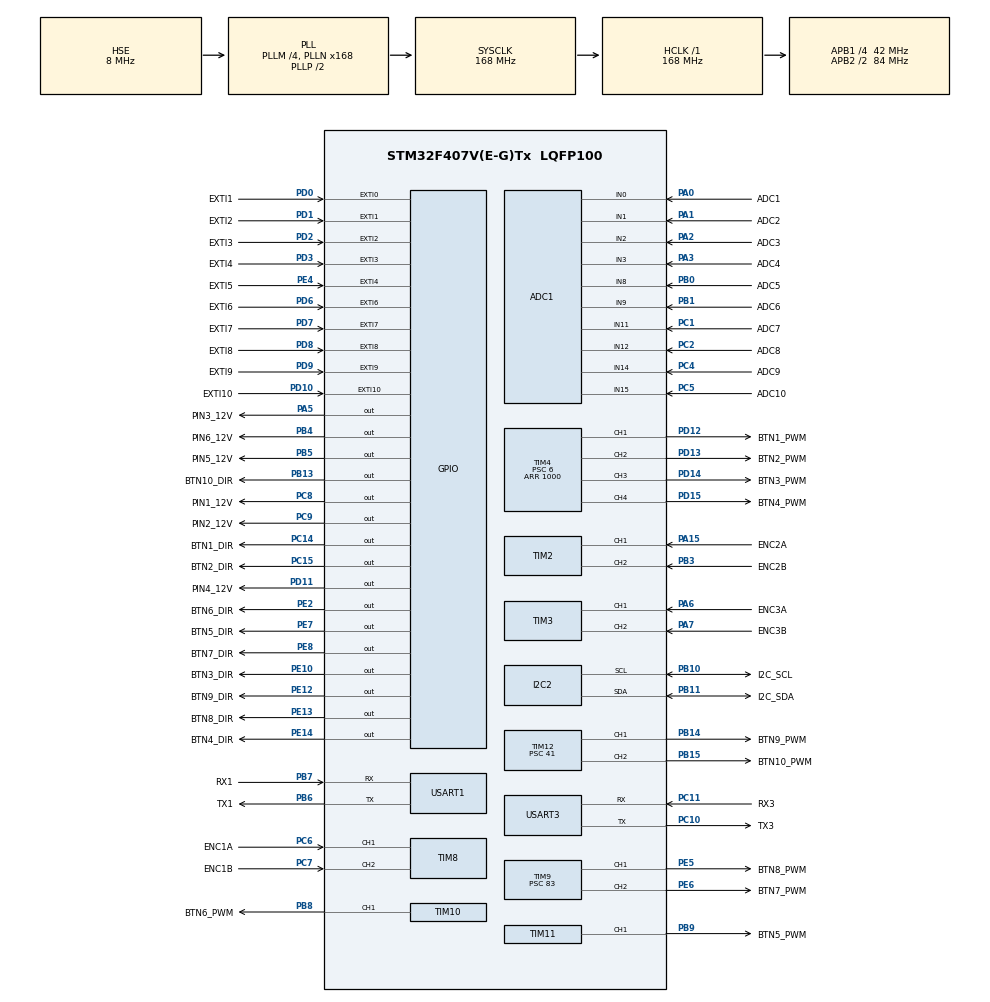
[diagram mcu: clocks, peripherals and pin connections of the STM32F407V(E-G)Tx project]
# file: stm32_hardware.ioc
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ADC1.Channel-0\#ChannelRegularConversion=ADC_CHANNEL_0
ADC1.Channel-1\#ChannelRegularConversion=ADC_CHANNEL_1
ADC1.Channel-2\#ChannelRegularConversion=ADC_CHANNEL_2
ADC1.Channel-3\#ChannelRegularConversion=ADC_CHANNEL_3
ADC1.Channel-4\#ChannelRegularConversion=ADC_CHANNEL_8
ADC1.Channel-5\#ChannelRegularConversion=ADC_CHANNEL_9
ADC1.Channel-6\#ChannelRegularConversion=ADC_CHANNEL_11
ADC1.Channel-7\#ChannelRegularConversion=ADC_CHANNEL_12
ADC1.Channel-8\#ChannelRegularConversion=ADC_CHANNEL_14
ADC1.Channel-9\#ChannelRegularConversion=ADC_CHANNEL_15
ADC1.NbrOfConversion=10
ADC1.NbrOfConversionFlag=1
ADC1.Rank-0\#ChannelRegularConversion=1
ADC1.Rank-1\#ChannelRegularConversion=2
ADC1.Rank-2\#ChannelRegularConversion=3
ADC1.Rank-3\#ChannelRegularConversion=4
ADC1.Rank-4\#ChannelRegularConversion=5
ADC1.Rank-5\#ChannelRegularConversion=6
ADC1.Rank-6\#ChannelRegularConversion=7
ADC1.Rank-7\#ChannelRegularConversion=8
ADC1.Rank-8\#ChannelRegularConversion=9
ADC1.Rank-9\#ChannelRegularConversion=10
ADC1.SamplingTime-0\#ChannelRegularConversion=ADC_SAMPLETIME_144CYCLES
ADC1.SamplingTime-1\#ChannelRegularConversion=ADC_SAMPLETIME_144CYCLES
ADC1.SamplingTime-2\#ChannelRegularConversion=ADC_SAMPLETIME_144CYCLES
ADC1.SamplingTime-3\#ChannelRegularConversion=ADC_SAMPLETIME_144CYCLES
ADC1.SamplingTime-4\#ChannelRegularConversion=ADC_SAMPLETIME_144CYCLES
ADC1.SamplingTime-5\#ChannelRegularConversion=ADC_SAMPLETIME_144CYCLES
ADC1.SamplingTime-6\#ChannelRegularConversion=ADC_SAMPLETIME_144CYCLES
ADC1.SamplingTime-7\#ChannelRegularConversion=ADC_SAMPLETIME_144CYCLES
ADC1.SamplingTime-8\#ChannelRegularConversion=ADC_SAMPLETIME_144CYCLES
ADC1.SamplingTime-9\#ChannelRegularConversion=ADC_SAMPLETIME_144CYCLES
ADC1.master=1
Dma.ADC1.0.Direction=DMA_PERIPH_TO_MEMORY
Dma.ADC1.0.FIFOMode=DMA_FIFOMODE_DISABLE
Dma.ADC1.0.Instance=DMA2_Stream0
Dma.ADC1.0.MemDataAlignment=DMA_MDATAALIGN_HALFWORD
Dma.ADC1.0.MemInc=DMA_MINC_ENABLE
Dma.ADC1.0.Mode=DMA_CIRCULAR
Dma.ADC1.0.PeriphDataAlignment=DMA_PDATAALIGN_HALFWORD
Dma.ADC1.0.PeriphInc=DMA_PINC_DISABLE
Dma.ADC1.0.Priority=DMA_PRIORITY_MEDIUM
Dma.Request0=ADC1
Dma.Request1=USART1_RX
Dma.Request2=USART1_TX
Dma.USART1_RX.1.Direction=DMA_PERIPH_TO_MEMORY
Dma.USART1_RX.1.FIFOMode=DMA_FIFOMODE_DISABLE
Dma.USART1_RX.1.Instance=DMA2_Stream2
Dma.USART1_RX.1.MemDataAlignment=DMA_MDATAALIGN_BYTE
Dma.USART1_RX.1.MemInc=DMA_MINC_ENABLE
Dma.USART1_RX.1.Mode=DMA_NORMAL
Dma.USART1_RX.1.PeriphDataAlignment=DMA_PDATAALIGN_BYTE
Dma.USART1_RX.1.PeriphInc=DMA_PINC_DISABLE
Dma.USART1_RX.1.Priority=DMA_PRIORITY_LOW
Dma.USART1_TX.2.Direction=DMA_MEMORY_TO_PERIPH
Dma.USART1_TX.2.FIFOMode=DMA_FIFOMODE_DISABLE
Dma.USART1_TX.2.Instance=DMA2_Stream7
Dma.USART1_TX.2.MemDataAlignment=DMA_MDATAALIGN_BYTE
Dma.USART1_TX.2.MemInc=DMA_MINC_ENABLE
Dma.USART1_TX.2.Mode=DMA_NORMAL
Dma.USART1_TX.2.PeriphDataAlignment=DMA_PDATAALIGN_BYTE
Dma.USART1_TX.2.PeriphInc=DMA_PINC_DISABLE
Dma.USART1_TX.2.Priority=DMA_PRIORITY_LOW
FREERTOS.Tasks01=startTask,24,128,StartDefaultTask,Default,NULL,Static,startTaskBuffer,startTaskControlBlock;Modbus,40,128,ModBus_Task,Default,NULL,Static,ModbusBuffer,ModbusControlBlock
FREERTOS.configUSE_NEWLIB_REENTRANT=1
I2C2.I2C_Mode=I2C_Fast
Mcu.Family=STM32F4
Mcu.Name=STM32F407V(E-G)Tx
Mcu.Package=LQFP100
NVIC.DMA2_Stream0_IRQn=true\:5\:0\:false\:false\:true\:true\:false\:true\:true
NVIC.DMA2_Stream2_IRQn=true\:5\:0\:false\:false\:true\:true\:false\:true\:true
NVIC.DMA2_Stream7_IRQn=true\:5\:0\:false\:false\:true\:true\:false\:true\:true
NVIC.EXTI0_IRQn=true\:5\:0\:false\:false\:true\:true\:true\:true\:true
NVIC.EXTI15_10_IRQn=true\:5\:0\:false\:false\:true\:true\:true\:true\:true
NVIC.EXTI1_IRQn=true\:5\:0\:false\:false\:true\:true\:true\:true\:true
NVIC.EXTI2_IRQn=true\:5\:0\:false\:false\:true\:true\:true\:true\:true
NVIC.EXTI3_IRQn=true\:5\:0\:false\:false\:true\:true\:true\:true\:true
NVIC.EXTI4_IRQn=true\:5\:0\:false\:false\:true\:true\:true\:true\:true
NVIC.EXTI9_5_IRQn=true\:5\:0\:false\:false\:true\:true\:true\:true\:true
NVIC.PriorityGroup=NVIC_PRIORITYGROUP_4
NVIC.TIM1_UP_TIM10_IRQn=true\:15\:0\:false\:false\:true\:false\:false\:true\:true
NVIC.TIM6_DAC_IRQn=true\:5\:0\:false\:false\:true\:true\:true\:true\:true
NVIC.TIM7_IRQn=true\:5\:0\:false\:false\:true\:true\:true\:true\:true
NVIC.TimeBase=TIM1_UP_TIM10_IRQn
NVIC.TimeBaseIP=TIM1
PA0-WKUP.GPIO_Label=ADC1
PA0-WKUP.Signal=ADCx_IN0
PA1.GPIO_Label=ADC2
PA1.Signal=ADCx_IN1
PA13.Mode=Serial_Wire
PA13.Signal=SYS_JTMS-SWDIO
PA14.Mode=Serial_Wire
PA14.Signal=SYS_JTCK-SWCLK
PA15.GPIO_Label=ENC2A
PA15.GPIO_PuPd=GPIO_PULLUP
PA15.Signal=S_TIM2_CH1_ETR
PA2.GPIO_Label=ADC3
PA2.Signal=ADCx_IN2
PA3.GPIO_Label=ADC4
PA3.Signal=ADCx_IN3
PA5.GPIO_Label=PIN3_12V
PA5.Signal=GPIO_Output
PA6.GPIO_Label=ENC3A
PA6.GPIO_PuPd=GPIO_NOPULL
PA6.Signal=S_TIM3_CH1
PA7.GPIO_Label=ENC3B
PA7.GPIO_PuPd=GPIO_NOPULL
PA7.Signal=S_TIM3_CH2
PB0.GPIO_Label=ADC5
PB0.Signal=ADCx_IN8
PB1.GPIO_Label=ADC6
PB1.Signal=ADCx_IN9
PB10.GPIO_Label=I2C_SCL
PB10.Mode=I2C
PB10.Signal=I2C2_SCL
PB11.GPIO_Label=I2C_SDA
PB11.Mode=I2C
PB11.Signal=I2C2_SDA
PB13.GPIO_Label=BTN10_DIR
PB13.Signal=GPIO_Output
PB14.GPIO_Label=BTN9_PWM
PB14.Signal=S_TIM12_CH1
PB15.GPIO_Label=BTN10_PWM
PB15.Signal=S_TIM12_CH2
PB3.GPIO_Label=ENC2B
PB3.GPIO_PuPd=GPIO_PULLUP
PB3.Signal=S_TIM2_CH2
PB4.GPIO_Label=PIN6_12V
PB4.Signal=GPIO_Output
PB5.GPIO_Label=PIN5_12V
PB5.Signal=GPIO_Output
PB6.GPIO_Label=TX1
PB6.Mode=Asynchronous
PB6.Signal=USART1_TX
PB7.GPIO_Label=RX1
PB7.Mode=Asynchronous
PB7.Signal=USART1_RX
PB8.GPIO_Label=BTN6_PWM
PB8.Signal=S_TIM10_CH1
PB9.GPIO_Label=BTN5_PWM
PB9.Signal=S_TIM11_CH1
PC1.GPIO_Label=ADC7
PC1.Signal=ADCx_IN11
PC10.GPIO_Label=TX3
PC10.Mode=Asynchronous
PC10.Signal=USART3_TX
PC11.GPIO_Label=RX3
PC11.Mode=Asynchronous
PC11.Signal=USART3_RX
PC14-OSC32_IN.GPIO_Label=BTN1_DIR
PC14-OSC32_IN.Signal=GPIO_Output
PC15-OSC32_OUT.GPIO_Label=BTN2_DIR
PC15-OSC32_OUT.Signal=GPIO_Output
PC2.GPIO_Label=ADC8
PC2.Signal=ADCx_IN12
PC4.GPIO_Label=ADC9
PC4.Signal=ADCx_IN14
PC5.GPIO_Label=ADC10
PC5.Signal=ADCx_IN15
PC6.GPIO_Label=ENC1A
PC6.GPIO_PuPd=GPIO_PULLUP
PC6.Signal=S_TIM8_CH1
PC7.GPIO_Label=ENC1B
PC7.GPIO_PuPd=GPIO_PULLUP
PC7.Signal=S_TIM8_CH2
PC8.GPIO_Label=PIN1_12V
PC8.Signal=GPIO_Output
PC9.GPIO_Label=PIN2_12V
PC9.Signal=GPIO_Output
PD0.GPIO_Label=EXTI1
PD0.Signal=GPXTI0
PD1.GPIO_Label=EXTI2
PD1.Signal=GPXTI1
PD10.GPIO_Label=EXTI10
PD10.Signal=GPXTI10
PD11.GPIO_Label=PIN4_12V
PD11.Signal=GPIO_Output
PD12.GPIO_Label=BTN1_PWM
PD12.Signal=S_TIM4_CH1
PD13.GPIO_Label=BTN2_PWM
PD13.Signal=S_TIM4_CH2
PD14.GPIO_Label=BTN3_PWM
PD14.Signal=S_TIM4_CH3
PD15.GPIO_Label=BTN4_PWM
PD15.Signal=S_TIM4_CH4
PD2.GPIO_Label=EXTI3
PD2.Signal=GPXTI2
PD3.GPIO_Label=EXTI4
PD3.Signal=GPXTI3
PD6.GPIO_Label=EXTI6
PD6.Signal=GPXTI6
PD7.GPIO_Label=EXTI7
PD7.Signal=GPXTI7
PD8.GPIO_Label=EXTI8
PD8.Signal=GPXTI8
PD9.GPIO_Label=EXTI9
PD9.Signal=GPXTI9
PE10.GPIO_Label=BTN3_DIR
PE10.Signal=GPIO_Output
PE12.GPIO_Label=BTN9_DIR
PE12.Signal=GPIO_Output
PE13.GPIO_Label=BTN8_DIR
PE13.Signal=GPIO_Output
PE14.GPIO_Label=BTN4_DIR
PE14.Signal=GPIO_Output
PE2.GPIO_Label=BTN6_DIR
PE2.Signal=GPIO_Output
PE4.GPIO_Label=EXTI5
PE4.Signal=GPXTI4
PE5.GPIO_Label=BTN8_PWM
PE5.Signal=S_TIM9_CH1
PE6.GPIO_Label=BTN7_PWM
PE6.Signal=S_TIM9_CH2
PE7.GPIO_Label=BTN5_DIR
PE7.Signal=GPIO_Output
PE8.GPIO_Label=BTN7_DIR
PE8.Signal=GPIO_Output
PH0-OSC_IN.Mode=HSE-External-Oscillator
PH0-OSC_IN.Signal=RCC_OSC_IN
PH1-OSC_OUT.Mode=HSE-External-Oscillator
PH1-OSC_OUT.Signal=RCC_OSC_OUT
ProjectManager.HeapSize=0x200
ProjectManager.StackSize=0x400
ProjectManager.TargetToolchain=STM32CubeIDE
RCC.48MHZClocksFreq_Value=84000000
RCC.AHBFreq_Value=168000000
RCC.APB1CLKDivider=RCC_HCLK_DIV4
RCC.APB1Freq_Value=42000000
RCC.APB1TimFreq_Value=84000000
RCC.APB2CLKDivider=RCC_HCLK_DIV2
RCC.APB2Freq_Value=84000000
RCC.APB2TimFreq_Value=168000000
RCC.CortexFreq_Value=168000000
RCC.HCLKFreq_Value=168000000
RCC.HSE_VALUE=8000000
RCC.HSI_VALUE=16000000
RCC.LSE_VALUE=32768
RCC.PLLM=4
RCC.PLLN=168
RCC.PLLSourceVirtual=RCC_PLLSOURCE_HSE
RCC.SYSCLKFreq_VALUE=168000000
RCC.SYSCLKSource=RCC_SYSCLKSOURCE_PLLCLK
RCC.VCOOutputFreq_Value=336000000
SH.ADCx_IN0.0=ADC1_IN0,IN0
SH.ADCx_IN1.0=ADC1_IN1,IN1
SH.ADCx_IN11.0=ADC1_IN11,IN11
SH.ADCx_IN12.0=ADC1_IN12,IN12
SH.ADCx_IN14.0=ADC1_IN14,IN14
SH.ADCx_IN15.0=ADC1_IN15,IN15
SH.ADCx_IN2.0=ADC1_IN2,IN2
SH.ADCx_IN3.0=ADC1_IN3,IN3
SH.ADCx_IN8.0=ADC1_IN8,IN8
SH.ADCx_IN9.0=ADC1_IN9,IN9
SH.S_TIM10_CH1.0=TIM10_CH1,PWM Generation1 CH1
SH.S_TIM11_CH1.0=TIM11_CH1,PWM Generation1 CH1
SH.S_TIM12_CH1.0=TIM12_CH1,PWM Generation1 CH1
SH.S_TIM12_CH2.0=TIM12_CH2,PWM Generation2 CH2
SH.S_TIM2_CH1_ETR.0=TIM2_CH1,Encoder_Interface
SH.S_TIM2_CH2.0=TIM2_CH2,Encoder_Interface
SH.S_TIM3_CH1.0=TIM3_CH1,Encoder_Interface
SH.S_TIM3_CH2.0=TIM3_CH2,Encoder_Interface
SH.S_TIM4_CH1.0=TIM4_CH1,PWM Generation1 CH1
SH.S_TIM4_CH2.0=TIM4_CH2,PWM Generation2 CH2
SH.S_TIM4_CH3.0=TIM4_CH3,PWM Generation3 CH3
SH.S_TIM4_CH4.0=TIM4_CH4,PWM Generation4 CH4
SH.S_TIM8_CH1.0=TIM8_CH1,Encoder_Interface
SH.S_TIM8_CH2.0=TIM8_CH2,Encoder_Interface
SH.S_TIM9_CH1.0=TIM9_CH1,PWM Generation1 CH1
SH.S_TIM9_CH2.0=TIM9_CH2,PWM Generation2 CH2
TIM10.Channel=TIM_CHANNEL_1
TIM10.Period=1000
TIM10.Prescaler=83
TIM11.Channel=TIM_CHANNEL_1
TIM11.Period=1000
TIM11.Prescaler=83
TIM12.Channel-PWM\ Generation1\ CH1=TIM_CHANNEL_1
TIM12.Channel-PWM\ Generation2\ CH2=TIM_CHANNEL_2
TIM12.Period=1000
TIM12.Prescaler=41
TIM4.Channel-PWM\ Generation1\ CH1=TIM_CHANNEL_1
TIM4.Channel-PWM\ Generation2\ CH2=TIM_CHANNEL_2
TIM4.Channel-PWM\ Generation3\ CH3=TIM_CHANNEL_3
TIM4.Channel-PWM\ Generation4\ CH4=TIM_CHANNEL_4
TIM4.Period=1000
TIM4.Prescaler=6
TIM6.Period=1000
TIM6.Prescaler=839
TIM7.Period=1000
TIM7.Prescaler=839
TIM9.Channel-PWM\ Generation1\ CH1=TIM_CHANNEL_1
TIM9.Channel-PWM\ Generation2\ CH2=TIM_CHANNEL_2
TIM9.Period=1000
TIM9.Prescaler=83
USART1.VirtualMode=VM_ASYNC
USART3.VirtualMode=VM_ASYNC
VP_FREERTOS_VS_CMSIS_V2.Mode=CMSIS_V2
VP_SYS_VS_tim1.Mode=TIM1
VP_TIM10_VS_ClockSourceINT.Mode=Enable_Timer
VP_TIM11_VS_ClockSourceINT.Mode=Enable_Timer
VP_TIM6_VS_ClockSourceINT.Mode=Enable_Timer
VP_TIM7_VS_ClockSourceINT.Mode=Enable_Timer
board=custom

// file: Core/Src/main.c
/* USER CODE BEGIN Header */
/**
  ******************************************************************************
  * @file           : main.c
  * @brief          : Main program body
  ******************************************************************************
  * @attention
  *
  * Copyright (c) 2023 STMicroelectronics.
  * All rights reserved.
  *
  * This software is licensed under terms that can be found in the LICENSE file
  * in the root directory of this software component.
  * If no LICENSE file comes with this software, it is provided AS-IS.
  *
  ******************************************************************************
  */
/* USER CODE END Header */
#include "main.h"
#include "cmsis_os.h"
#include "adc.h"
#include "dma.h"
#include "i2c.h"
#include "tim.h"
#include "usart.h"
#include "gpio.h"

/* USER CODE BEGIN PTD */
regulator PID[4];
/* USER CODE END PTD */

/* USER CODE BEGIN PD */
#define disk_to_real	0.4743
#define freq			0.01
#define arm_count		2870.0
#define moving_count	770.0
/* USER CODE END PD */

void SystemClock_Config(void);
void MX_FREERTOS_Init(void);

int main(void)
{

  /* MCU Configuration--------------------------------------------------------*/

  /* Reset of all peripherals, Initializes the Flash interface and the Systick. */
  HAL_Init();

  /* Configure the system clock */
  SystemClock_Config();

  /* Initialize all configured peripherals */
  MX_GPIO_Init();
  MX_TIM2_Init();
  MX_TIM3_Init();
  MX_TIM4_Init();
  MX_TIM7_Init();
  MX_ADC1_Init();
  MX_I2C2_Init();
  MX_TIM8_Init();
  MX_TIM9_Init();
  MX_TIM10_Init();
  MX_TIM11_Init();
  MX_DMA_Init();
  MX_USART3_UART_Init();
  MX_USART1_UART_Init();
  MX_TIM6_Init();
  MX_TIM12_Init();
  /* USER CODE BEGIN 2 */
  HAL_TIM_PWM_Start(&htim4, TIM_CHANNEL_1);
  HAL_TIM_PWM_Start(&htim4, TIM_CHANNEL_2);
  HAL_TIM_PWM_Start(&htim4, TIM_CHANNEL_3);
  HAL_TIM_Encoder_Start(&htim8, TIM_CHANNEL_ALL);
  HAL_TIM_Encoder_Start(&htim2, TIM_CHANNEL_ALL);
  HAL_TIM_Encoder_Start(&htim3, TIM_CHANNEL_ALL);
  HAL_TIM_Base_Start_IT(&htim6);

  init_pid();

  set_voltage(0, 0.0);
  set_voltage(1, 0.0);
  set_voltage(2, 0.0);
  /* USER CODE END 2 */

  /* Init scheduler */
  osKernelInitialize();  /* Call init function for freertos objects (in freertos.c) */
  MX_FREERTOS_Init();

  /* Start scheduler */
  osKernelStart();

  /* We should never get here as control is now taken by the scheduler */
  /* Infinite loop */
  while (1)
  {

  }
}

void SystemClock_Config(void)
{
  RCC_OscInitTypeDef RCC_OscInitStruct = {0};
  RCC_ClkInitTypeDef RCC_ClkInitStruct = {0};

  /** Configure the main internal regulator output voltage
  */
  __HAL_RCC_PWR_CLK_ENABLE();
  __HAL_PWR_VOLTAGESCALING_CONFIG(PWR_REGULATOR_VOLTAGE_SCALE1);

  /** Initializes the RCC Oscillators according to the specified parameters
  * in the RCC_OscInitTypeDef structure.
  */
  RCC_OscInitStruct.OscillatorType = RCC_OSCILLATORTYPE_HSE;
  RCC_OscInitStruct.HSEState = RCC_HSE_ON;
  RCC_OscInitStruct.PLL.PLLState = RCC_PLL_ON;
  RCC_OscInitStruct.PLL.PLLSource = RCC_PLLSOURCE_HSE;
  RCC_OscInitStruct.PLL.PLLM = 4;
  RCC_OscInitStruct.PLL.PLLN = 168;
  RCC_OscInitStruct.PLL.PLLP = RCC_PLLP_DIV2;
  RCC_OscInitStruct.PLL.PLLQ = 4;
  if (HAL_RCC_OscConfig(&RCC_OscInitStruct) != HAL_OK)
  {
    Error_Handler();
  }

  /** Initializes the CPU, AHB and APB buses clocks
  */
  RCC_ClkInitStruct.ClockType = RCC_CLOCKTYPE_HCLK|RCC_CLOCKTYPE_SYSCLK
                              |RCC_CLOCKTYPE_PCLK1|RCC_CLOCKTYPE_PCLK2;
  RCC_ClkInitStruct.SYSCLKSource = RCC_SYSCLKSOURCE_PLLCLK;
  RCC_ClkInitStruct.AHBCLKDivider = RCC_SYSCLK_DIV1;
  RCC_ClkInitStruct.APB1CLKDivider = RCC_HCLK_DIV4;
  RCC_ClkInitStruct.APB2CLKDivider = RCC_HCLK_DIV2;

  if (HAL_RCC_ClockConfig(&RCC_ClkInitStruct, FLASH_LATENCY_5) != HAL_OK)
  {
    Error_Handler();
  }
}

/* USER CODE BEGIN 4 */
void get_encoder_data(void)
{
	int16_t Enc[3] = {0.0, 0.0};

	Enc[0] = TIM8->CNT;
	Enc[1] = TIM2->CNT;
	Enc[2] = TIM3->CNT;

	// speed
	float tmp_dist = 0.0;
	tmp_dist = Enc[0] * (disk_to_real / moving_count);
	PID[0].in = tmp_dist / freq;

	tmp_dist = Enc[1] * (disk_to_real / moving_count);
	PID[1].in = tmp_dist / freq;

	tmp_dist = Enc[2] * (disk_to_real / 1340.0);
	PID[2].in = tmp_dist / freq;

	// distanse
	tmp_dist = Enc[2] * (disk_to_real / 1340.0) ;
	PID[3].in += tmp_dist * 360.0;

	TIM8->CNT = 0;
	TIM2->CNT = 0;
	TIM3->CNT = 0;
}

void calc_pid(void)
{
	PID[0].error = PID[0].target - PID[0].in;
	PID[0].sum_error += PID[0].error;
	if(PID[0].sum_error > PID[0].max_sum_error) PID[0].sum_error = PID[0].max_sum_error;
	if(PID[0].sum_error < -PID[0].max_sum_error) PID[0].sum_error = -PID[0].max_sum_error;

	PID[0].out = (PID[0].p_k * PID[0].error) + (PID[0].i_k * PID[0].sum_error) + (PID[0].d_k * PID[0].prev_error);
	if(PID[0].out > PID[0].max_out) PID[0].out = PID[0].max_out;
	if(PID[0].out < -PID[0].max_out) PID[0].out = -PID[0].max_out;
	PID[0].prev_error = PID[0].error;

	PID[1].error = PID[1].in - PID[1].target;
	PID[1].sum_error += PID[1].error;
	if(PID[1].sum_error > PID[1].max_sum_error) PID[1].sum_error = PID[1].max_sum_error;
	if(PID[1].sum_error < -PID[1].max_sum_error) PID[1].sum_error = -PID[1].max_sum_error;

	PID[1].out = (PID[1].p_k * PID[1].error) + (PID[1].i_k * PID[1].sum_error) + (PID[1].d_k * PID[1].prev_error);
	if(PID[1].out > PID[1].max_out) PID[1].out = PID[1].max_out;
	if(PID[1].out < -PID[1].max_out) PID[1].out = -PID[1].max_out;
	PID[1].prev_error = PID[1].error;

	PID[2].error = PID[2].in - PID[2].target;
	PID[2].sum_error += PID[2].error;
	if(PID[2].sum_error > PID[2].max_sum_error) PID[2].sum_error = PID[2].max_sum_error;
	if(PID[2].sum_error < -PID[2].max_sum_error) PID[2].sum_error = -PID[2].max_sum_error;

	PID[2].out = (PID[2].p_k * PID[2].error) + (PID[2].i_k * PID[2].sum_error) + (PID[2].d_k * PID[2].prev_error);
	if(PID[2].out > PID[2].max_out) PID[2].out = PID[2].max_out;
	if(PID[2].out < -PID[2].max_out) PID[2].out = -PID[2].max_out;
	PID[2].prev_error = PID[2].error;

	PID[3].error = PID[3].target - PID[3].in;
	PID[3].sum_error += PID[3].error;
	if(PID[3].sum_error > PID[3].max_sum_error) PID[3].sum_error = PID[3].max_sum_error;
	if(PID[3].sum_error < -PID[3].max_sum_error) PID[3].sum_error = -PID[3].max_sum_error;

	PID[3].out = (PID[3].p_k * PID[3].error) + (PID[3].i_k * PID[3].sum_error) + (PID[3].d_k * PID[3].prev_error);
	if(PID[3].out > PID[3].max_out) PID[3].out = PID[3].max_out;
	if(PID[3].out < -PID[3].max_out) PID[3].out = -PID[3].max_out;
	PID[3].prev_error = PID[3].error;
}

void set_voltage(uint8_t motor, float duty)
{
	if(duty > 1.0) duty = 1.0;
	if(duty < -1.0) duty = -1.0;
	switch(motor)
	{
	case 0:
		if(duty >= 0.0)
		{
			TIM4->CCR1 = ((int32_t)(TIM4->ARR * duty));
			HAL_GPIO_WritePin(BTN1_DIR_GPIO_Port, BTN1_DIR_Pin, GPIO_PIN_RESET);
		} else {
			TIM4->CCR1 = ((int32_t)(TIM4->ARR + (TIM4->ARR * duty)));
			HAL_GPIO_WritePin(BTN1_DIR_GPIO_Port, BTN1_DIR_Pin, GPIO_PIN_SET);
		}
		break;
	case 1:
		if(duty >= 0.0)
		{
			TIM4->CCR2 = ((int32_t)(TIM4->ARR * duty));
			HAL_GPIO_WritePin(BTN2_DIR_GPIO_Port, BTN2_DIR_Pin, GPIO_PIN_RESET);
		} else {
			TIM4->CCR2 = ((int32_t)(TIM4->ARR + (TIM4->ARR * duty)));
			HAL_GPIO_WritePin(BTN2_DIR_GPIO_Port, BTN2_DIR_Pin, GPIO_PIN_SET);
		}
		break;
	case 2:
		if(duty >= 0.0)
		{
			TIM4->CCR3 = ((int32_t)(TIM4->ARR * duty));
			HAL_GPIO_WritePin(BTN3_DIR_GPIO_Port, BTN3_DIR_Pin, GPIO_PIN_RESET);
		} else {
			TIM4->CCR3 = ((int32_t)(TIM4->ARR + (TIM4->ARR * duty)));
			HAL_GPIO_WritePin(BTN3_DIR_GPIO_Port, BTN3_DIR_Pin, GPIO_PIN_SET);
		}
		break;
	}
}

void init_pid(void)
{
	// Speed regulators
	PID[0].p_k = 0.050;
	PID[0].i_k = 0.20;
	PID[0].d_k = 0.0;
	PID[0].error = 0.0;
	PID[0].sum_error = 0.0;
	PID[0].max_sum_error = 10.0;
	PID[0].min_out = 0.1;
	PID[0].max_out = 1.0;
	PID[0].out = 0.0;
	PID[0].target = 0.0;

	PID[1].p_k = 0.050;
	PID[1].i_k = 0.200;
	PID[1].d_k = 0.0;
	PID[1].error = 0.0;
	PID[1].sum_error = 0.0;
	PID[1].max_sum_error = 10.0;
	PID[1].min_out = 0.1;
	PID[1].max_out = 1.0;
	PID[1].out = 0.0;
	PID[1].target = 0.0;

	PID[2].p_k = 0.40;
	PID[2].i_k = 0.0780;
	PID[2].d_k = 0.0;
	PID[2].error = 0.0;
	PID[2].sum_error = 0.0;
	PID[2].max_sum_error = 5.0;
	PID[2].min_out = 0.1;
	PID[2].max_out = 1.0;
	PID[2].out = 0.0;
	PID[2].target = 0.0;

	// angle regulator
	PID[3].p_k = 1.0;
	PID[3].i_k = 0.0;
	PID[3].d_k = 0.0;
	PID[3].error = 0.0;
	PID[3].sum_error = 0.0;
	PID[3].max_sum_error = 10.0;
	PID[3].min_out = 0.1;
	PID[3].max_out = 0.25;
	PID[3].out = 0.0;
	PID[3].target = 0.0;
}
/* USER CODE END 4 */

void HAL_TIM_PeriodElapsedCallback(TIM_HandleTypeDef *htim)
{
  if (htim->Instance == TIM1) {
    HAL_IncTick();
  }
}

void Error_Handler(void)
{
  __disable_irq();
  while (1)
  {
  }
}

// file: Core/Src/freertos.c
/* USER CODE BEGIN Header */
/**
  ******************************************************************************
  * File Name          : freertos.c
  * Description        : Code for freertos applications
  ******************************************************************************
  * @attention
  *
  * Copyright (c) 2023 STMicroelectronics.
  * All rights reserved.
  *
  * This software is licensed under terms that can be found in the LICENSE file
  * in the root directory of this software component.
  * If no LICENSE file comes with this software, it is provided AS-IS.
  *
  ******************************************************************************
  */
/* USER CODE END Header */

#include "FreeRTOS.h"
#include "task.h"
#include "main.h"
#include "cmsis_os.h"

/* USER CODE BEGIN Includes */
#include <stdbool.h>
#include <stdio.h>
#include <string.h>
#include "usart.h"
/* USER CODE END Includes */

typedef StaticTask_t osStaticThreadDef_t;

/* USER CODE BEGIN Variables */
static struct {
	uint8_t modbus[17];
	bool flag;
	float speed;
	uint8_t direction;
	float arm_angle;
	uint8_t crc_check[2];
}robot;

char sync = 0;
/* USER CODE END Variables */
/* Definitions for startTask */
osThreadId_t startTaskHandle;
uint32_t startTaskBuffer[ 128 ];
osStaticThreadDef_t startTaskControlBlock;
const osThreadAttr_t startTask_attributes = {
  .name = "startTask",
  .cb_mem = &startTaskControlBlock,
  .cb_size = sizeof(startTaskControlBlock),
  .stack_mem = &startTaskBuffer[0],
  .stack_size = sizeof(startTaskBuffer),
  .priority = (osPriority_t) osPriorityNormal,
};
/* Definitions for Modbus */
osThreadId_t ModbusHandle;
uint32_t ModbusBuffer[ 128 ];
osStaticThreadDef_t ModbusControlBlock;
const osThreadAttr_t Modbus_attributes = {
  .name = "Modbus",
  .cb_mem = &ModbusControlBlock,
  .cb_size = sizeof(ModbusControlBlock),
  .stack_mem = &ModbusBuffer[0],
  .stack_size = sizeof(ModbusBuffer),
  .priority = (osPriority_t) osPriorityHigh,
};

/* USER CODE BEGIN FunctionPrototypes */
static unsigned char CRCHi[] = {
0x00, 0xC1, 0x81, 0x40, 0x01, 0xC0, 0x80, 0x41, 0x01, 0xC0,
0x80, 0x41, 0x00, 0xC1, 0x81, 0x40, 0x01, 0xC0, 0x80, 0x41,
0x00, 0xC1, 0x81, 0x40, 0x00, 0xC1, 0x81, 0x40, 0x01, 0xC0,
0x80, 0x41, 0x01, 0xC0, 0x80, 0x41, 0x00, 0xC1, 0x81, 0x40,
0x00, 0xC1, 0x81, 0x40, 0x01, 0xC0, 0x80, 0x41, 0x00, 0xC1,
0x81, 0x40, 0x01, 0xC0, 0x80, 0x41, 0x01, 0xC0, 0x80, 0x41,
0x00, 0xC1, 0x81, 0x40, 0x01, 0xC0, 0x80, 0x41, 0x00, 0xC1,
0x81, 0x40, 0x00, 0xC1, 0x81, 0x40, 0x01, 0xC0, 0x80, 0x41,
0x00, 0xC1, 0x81, 0x40, 0x01, 0xC0, 0x80, 0x41, 0x01, 0xC0,
0x80, 0x41, 0x00, 0xC1, 0x81, 0x40, 0x00, 0xC1, 0x81, 0x40,
0x01, 0xC0, 0x80, 0x41, 0x01, 0xC0, 0x80, 0x41, 0x00, 0xC1,
0x81, 0x40, 0x01, 0xC0, 0x80, 0x41, 0x00, 0xC1, 0x81, 0x40,
0x00, 0xC1, 0x81, 0x40, 0x01, 0xC0, 0x80, 0x41, 0x01, 0xC0,
0x80, 0x41, 0x00, 0xC1, 0x81, 0x40, 0x00, 0xC1, 0x81, 0x40,
0x01, 0xC0, 0x80, 0x41, 0x00, 0xC1, 0x81, 0x40, 0x01, 0xC0,
0x80, 0x41, 0x01, 0xC0, 0x80, 0x41, 0x00, 0xC1, 0x81, 0x40,
0x00, 0xC1, 0x81, 0x40, 0x01, 0xC0, 0x80, 0x41, 0x01, 0xC0,
0x80, 0x41, 0x00, 0xC1, 0x81, 0x40, 0x01, 0xC0, 0x80, 0x41,
0x00, 0xC1, 0x81, 0x40, 0x00, 0xC1, 0x81, 0x40, 0x01, 0xC0,
0x80, 0x41, 0x00, 0xC1, 0x81, 0x40, 0x01, 0xC0, 0x80, 0x41,
0x01, 0xC0, 0x80, 0x41, 0x00, 0xC1, 0x81, 0x40, 0x01, 0xC0,
0x80, 0x41, 0x00, 0xC1, 0x81, 0x40, 0x00, 0xC1, 0x81, 0x40,
0x01, 0xC0, 0x80, 0x41, 0x01, 0xC0, 0x80, 0x41, 0x00, 0xC1,
0x81, 0x40, 0x00, 0xC1, 0x81, 0x40, 0x01, 0xC0, 0x80, 0x41,
0x00, 0xC1, 0x81, 0x40, 0x01, 0xC0, 0x80, 0x41, 0x01, 0xC0,
0x80, 0x41, 0x00, 0xC1, 0x81, 0x40
};

static char CRCLo[] = {
0x00, 0xC0, 0xC1, 0x01, 0xC3, 0x03, 0x02, 0xC2, 0xC6, 0x06,
0x07, 0xC7, 0x05, 0xC5, 0xC4, 0x04, 0xCC, 0x0C, 0x0D, 0xCD,
0x0F, 0xCF, 0xCE, 0x0E, 0x0A, 0xCA, 0xCB, 0x0B, 0xC9, 0x09,
0x08, 0xC8, 0xD8, 0x18, 0x19, 0xD9, 0x1B, 0xDB, 0xDA, 0x1A,
0x1E, 0xDE, 0xDF, 0x1F, 0xDD, 0x1D, 0x1C, 0xDC, 0x14, 0xD4,
0xD5, 0x15, 0xD7, 0x17, 0x16, 0xD6, 0xD2, 0x12, 0x13, 0xD3,
0x11, 0xD1, 0xD0, 0x10, 0xF0, 0x30, 0x31, 0xF1, 0x33, 0xF3,
0xF2, 0x32, 0x36, 0xF6, 0xF7, 0x37, 0xF5, 0x35, 0x34, 0xF4,
0x3C, 0xFC, 0xFD, 0x3D, 0xFF, 0x3F, 0x3E, 0xFE, 0xFA, 0x3A,
0x3B, 0xFB, 0x39, 0xF9, 0xF8, 0x38, 0x28, 0xE8, 0xE9, 0x29,
0xEB, 0x2B, 0x2A, 0xEA, 0xEE, 0x2E, 0x2F, 0xEF, 0x2D, 0xED,
0xEC, 0x2C, 0xE4, 0x24, 0x25, 0xE5, 0x27, 0xE7, 0xE6, 0x26,
0x22, 0xE2, 0xE3, 0x23, 0xE1, 0x21, 0x20, 0xE0, 0xA0, 0x60,
0x61, 0xA1, 0x63, 0xA3, 0xA2, 0x62, 0x66, 0xA6, 0xA7, 0x67,
0xA5, 0x65, 0x64, 0xA4, 0x6C, 0xAC, 0xAD, 0x6D, 0xAF, 0x6F,
0x6E, 0xAE, 0xAA, 0x6A, 0x6B, 0xAB, 0x69, 0xA9, 0xA8, 0x68,
0x78, 0xB8, 0xB9, 0x79, 0xBB, 0x7B, 0x7A, 0xBA, 0xBE, 0x7E,
0x7F, 0xBF, 0x7D, 0xBD, 0xBC, 0x7C, 0xB4, 0x74, 0x75, 0xB5,
0x77, 0xB7, 0xB6, 0x76, 0x72, 0xB2, 0xB3, 0x73, 0xB1, 0x71,
0x70, 0xB0, 0x50, 0x90, 0x91, 0x51, 0x93, 0x53, 0x52, 0x92,
0x96, 0x56, 0x57, 0x97, 0x55, 0x95, 0x94, 0x54, 0x9C, 0x5C,
0x5D, 0x9D, 0x5F, 0x9F, 0x9E, 0x5E, 0x5A, 0x9A, 0x9B, 0x5B,
0x99, 0x59, 0x58, 0x98, 0x88, 0x48, 0x49, 0x89, 0x4B, 0x8B,
0x8A, 0x4A, 0x4E, 0x8E, 0x8F, 0x4F, 0x8D, 0x4D, 0x4C, 0x8C,
0x44, 0x84, 0x85, 0x45, 0x87, 0x47, 0x46, 0x86, 0x82, 0x42,
0x43, 0x83, 0x41, 0x81, 0x80, 0x40
};

static void reset_options(void)
{
	// speed
	PID[0].target = 0.0;
	PID[1].target = 0.0;

	PID[0].sum_error = 0.0;
	PID[1].sum_error = 0.0;
	// angle pos
	PID[3].target = 0.0;
	PID[2].sum_error = 0.0;
	// stat parameters
	robot.arm_angle = 0.0;
	robot.direction = 0;
	robot.flag = false;
	robot.speed = 0.0;
	memset(robot.modbus, 0, sizeof(robot.modbus));
}

static void check_modbus_crc(unsigned char *puchmsg, unsigned short usDataLen)
{
	// low high crc bytes initialized
	unsigned char uchCRCHi = 0xFF;
	unsigned char uchCRCLo = 0xFF;

	unsigned index;
	while(usDataLen--) {
		index = uchCRCHi ^ *puchmsg++;
		uchCRCHi = uchCRCLo ^ CRCHi[index];
		uchCRCLo = CRCLo[index];
	}
	robot.crc_check[0] = uchCRCLo;
	robot.crc_check[1] = uchCRCHi;
}
/* USER CODE END FunctionPrototypes */

void StartDefaultTask(void *argument);
void ModBus_Task(void *argument);

void MX_FREERTOS_Init(void); /* (MISRA C 2004 rule 8.1) */

void MX_FREERTOS_Init(void) {

  /* Create the thread(s) */
  /* creation of startTask */
  startTaskHandle = osThreadNew(StartDefaultTask, NULL, &startTask_attributes);

  /* creation of Modbus */
  ModbusHandle = osThreadNew(ModBus_Task, NULL, &Modbus_attributes);

}

void StartDefaultTask(void *argument)
{
  /* USER CODE BEGIN StartDefaultTask */
	reset_options();
  /* Infinite loop */
  for(;;)
  {
	  if(!robot.flag) xTaskNotifyGive(ModbusHandle);
	  else
	  {
		  robot.flag = false;
		  if(robot.arm_angle >= 0.0 && robot.arm_angle <= 180.0)
		  {
			  PID[3].target = -robot.arm_angle;
		  } else PID[3].target = 0.0;
		  if(robot.speed <= 0.25)
		  {
			  switch(robot.direction)
			  {
			  case 0:
				  PID[0].target = 0.0;
				  PID[1].target = 0.0;
				  break;

			  case 1:
				  PID[0].target = -robot.speed;
				  PID[1].target = robot.speed;
				  break;

			  case 2:
				  PID[0].target = robot.speed;
				  PID[1].target = robot.speed;
				  break;

			  case 3:
				  PID[0].target = -robot.speed;
				  PID[1].target = -robot.speed;
				  break;

			  case 4:
				  PID[0].target = robot.speed;
				  PID[1].target = -robot.speed;
				  break;
			  }
		  }
		  robot.flag = false;
	  }
	  sync = 0;
	  osDelay(10 / portTICK_RATE_MS);
  }
  /* USER CODE END StartDefaultTask */
}

void ModBus_Task(void *argument)
{
  /* USER CODE BEGIN ModBus_Task */
	uint32_t prev_time = HAL_GetTick();
	uint32_t time = 0;
  /* Infinite loop */
  for(;;)
  {
    ulTaskNotifyTake(0, portMAX_DELAY);
    if(!robot.flag) HAL_UART_Receive_DMA(&huart1, robot.modbus, sizeof(robot.modbus));
    time = HAL_GetTick();
    if(sync == 1)
    {
    	prev_time = time;
    	robot.flag = true;
    	check_modbus_crc(robot.modbus, sizeof(robot.modbus) - 4);
    	if(robot.crc_check[0] == robot.modbus[13] && robot.crc_check[1] == robot.modbus[14])
    	{
    		uint32_t tmp_speed_uint32_t = 0;
    		tmp_speed_uint32_t += robot.modbus[7] << 24;
    		tmp_speed_uint32_t += robot.modbus[8] << 16;
    		tmp_speed_uint32_t += robot.modbus[9] << 8;
    		tmp_speed_uint32_t += robot.modbus[10];

    		memcpy(&robot.speed, &tmp_speed_uint32_t, sizeof(tmp_speed_uint32_t));

    		robot.arm_angle = robot.modbus[12];
    		robot.direction = robot.modbus[11];
    	}
    	xTaskNotifyGive(startTaskHandle);
    } else
    {
    	if(time - prev_time >= 2000)
    	{
    		reset_options();
    	}
    }
    osDelay(10 / portTICK_RATE_MS);
  }
  /* USER CODE END ModBus_Task */
}
